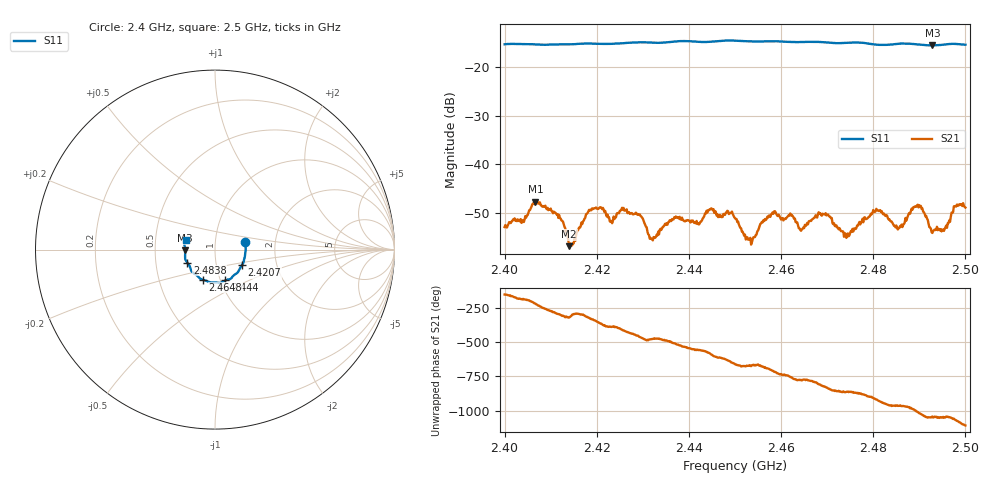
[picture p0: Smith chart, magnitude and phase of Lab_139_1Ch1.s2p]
# Hz S RI R 50
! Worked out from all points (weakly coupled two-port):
!   601 points, 2.4 GHz to 2.5 GHz, reference 50 ohm
!   highest |S21| = -47.72 dB at 2.4067 GHz (marker M1); lowest = -56.8 dB at 2.414 GHz (marker M2)
!   lowest |S11| = -15.6 dB at 2.4928 GHz (marker M3), VSWR 1.40, Z = 35.7 - j0.314 ohm
!   |S11| at or under -10 dB: start of sweep to end of sweep
!   S12 and S22 are empty: the file has one direction only
!   S11 on the Smith chart (normalised r, x): 2.4 GHz: 1.39, +0.12; 2.4207 GHz: 1.33, -0.23; 2.444 GHz: 1.05, -0.37; 2.4648 GHz: 0.83, -0.29; 2.4838 GHz: 0.73, -0.11; 2.5 GHz: 0.72, +0.08
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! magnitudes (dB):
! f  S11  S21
! 2.4 GHz  -15.3  -52.9
! 2.4067 GHz  -15.4  -47.7
! 2.4117 GHz  -15.3  -51.0
! 2.414 GHz  -15.4  -56.8
! 2.4167 GHz  -15.2  -52.0
! 2.4207 GHz  -15.2  -48.8
! 2.4333 GHz  -15.0  -53.9
! 2.444 GHz  -14.8  -49.9
! 2.45 GHz  -14.6  -51.1
! 2.4533 GHz  -14.7  -55.1
! 2.4583 GHz  -14.7  -50.2
! 2.4648 GHz  -14.9  -53.0
! 2.4667 GHz  -14.8  -51.4
! 2.4702 GHz  -15.0  -50.3
! 2.4742 GHz  -15.0  -55.1
! 2.4805 GHz  -15.4  -49.7
! 2.4833 GHz  -15.4  -51.3
! 2.4838 GHz  -15.4  -51.8
! 2.4858 GHz  -15.2  -52.7
! 2.4898 GHz  -15.4  -48.9
! 2.4928 GHz  -15.6  -54.1
! 2.5 GHz  -15.4  -48.9
